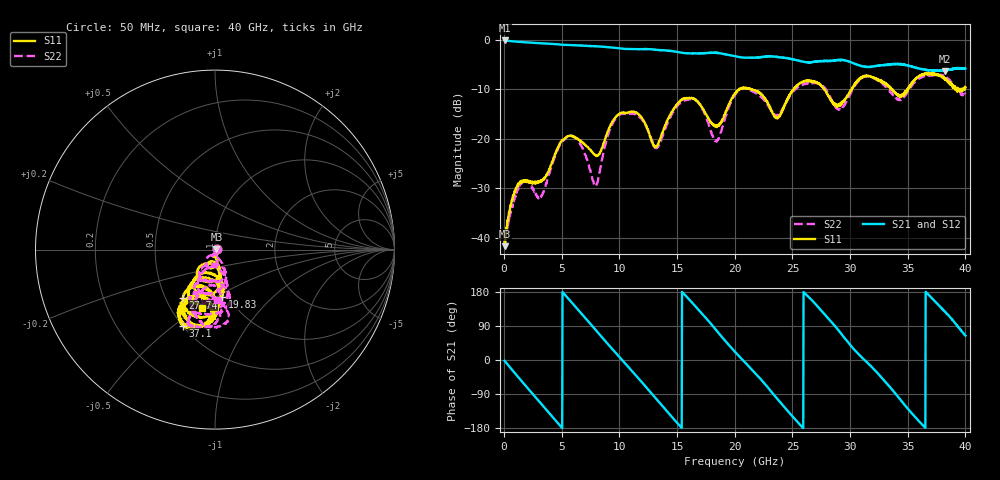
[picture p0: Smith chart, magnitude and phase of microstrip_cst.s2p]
!  Measured S-parameter data for IEEE EPS TC-EDMS Benchmark Suite
!  Package Microstrip Tranmission Line Test Structure
# Hz S RI R 50
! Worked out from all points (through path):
!   1601 points, 50 MHz to 40 GHz, reference 50 ohm
!   highest |S21| = -0.07 dB at 50 MHz (marker M1); lowest = -6.3 dB at 38.2 GHz (marker M2)
!   group delay of S21, straight-line fit = 95.2 ps
!   lowest |S11| = -41.7 dB at 74.97 MHz (marker M3), VSWR 1.02, Z = 50.8 + j0.179 ohm
!   |S11| at or under -10 dB: start of sweep to 20.37 GHz; 21.51 GHz to 25.1 GHz (3.589 GHz wide, 15.4 % of centre); 27.77 GHz to 30.11 GHz (2.334 GHz wide, 8.06 % of centre)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
!   |S22| runs from -41.6 to -7.0 dB; largest |S21 - S12| = 0.022
!   S11 on the Smith chart (normalised r, x): 50 MHz: 1.02, +0.00; 19.83 GHz: 0.94, -0.53; 27.74 GHz: 0.61, -0.37; 37.1 GHz: 0.50, -0.54; 40 GHz: 0.71, -0.52
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5e7  0.00922 0.000728  0.9912 -0.0343  0.9913 -0.0335  0.00909 0.00139
7.496875e7  0.00798 0.00177  0.9896 -0.0513  0.9893 -0.051  0.00828 0.000854
1.473219e9  -0.00414 -0.0353  0.5653 -0.7723  0.5654 -0.772  -0.00584 -0.0353
2.796562e9  -0.00933 -0.0349  -0.1717 -0.9184  -0.1717 -0.9195  -0.00742 -0.0259
4.769094e9  0.008 -0.0855  -0.8911 -0.1554  -0.8906 -0.1567  0.00417 -0.0832
6.716656e9  -0.0437 -0.0823  -0.4684 0.7427  -0.4715 0.744  -0.0499 -0.0682
7.965094e9  -0.0157 -0.066  0.1718 0.8514  0.1699 0.8491  -0.00625 -0.0327
1.00375e10  -0.0165 -0.1797  0.8206 0.0911  0.8203 0.0895  0.0325 -0.1737
1.198506e10  -0.099 -0.1255  0.4058 -0.7  0.408 -0.6999  -0.0875 -0.1278
1.338331e10  -0.00251 -0.0894  -0.2609 -0.7492  -0.2585 -0.7512  0.00932 -0.0842
1.600503e10  -0.0651 -0.2492  -0.6968 0.2357  -0.6944 0.2341  -0.0526 -0.2447
1.80275e10  -0.0591 -0.1304  -0.0294 0.7412  -0.0276 0.7436  -0.0419 -0.101
1.982525e10  0.0385 -0.2624  0.6114 0.3296  0.6113 0.3297  0.0697 -0.2453
2.0025e10  0.0276 -0.2872  0.6391 0.2509  0.6375 0.2528  0.0672 -0.2715
2.327094e10  -0.0882 -0.159  0.033 -0.6801  0.0379 -0.6744  -0.0703 -0.1685
2.669166e10  -0.1291 -0.3612  -0.5513 0.2251  -0.5526 0.2251  -0.0911 -0.357
2.774034e10  -0.1802 -0.2678  -0.3316 0.5148  -0.3348 0.5163  -0.1236 -0.3122
3.0412e10  0.00161 -0.3532  0.5162 0.2496  0.519 0.2626  0.0355 -0.3433
3.335831e10  -0.1732 -0.2978  0.2128 -0.5227  0.2198 -0.5322  -0.1405 -0.2798
3.710362e10  -0.1772 -0.4236  -0.4705 0.1454  -0.4788 0.134  -0.0828 -0.4318
3.820225e10  -0.1927 -0.357  -0.2995 0.3824  -0.3075 0.39  -0.1509 -0.3997
4e10  -0.0725 -0.3235  0.2219 0.4631  0.2193 0.4697  0.0104 -0.2821
